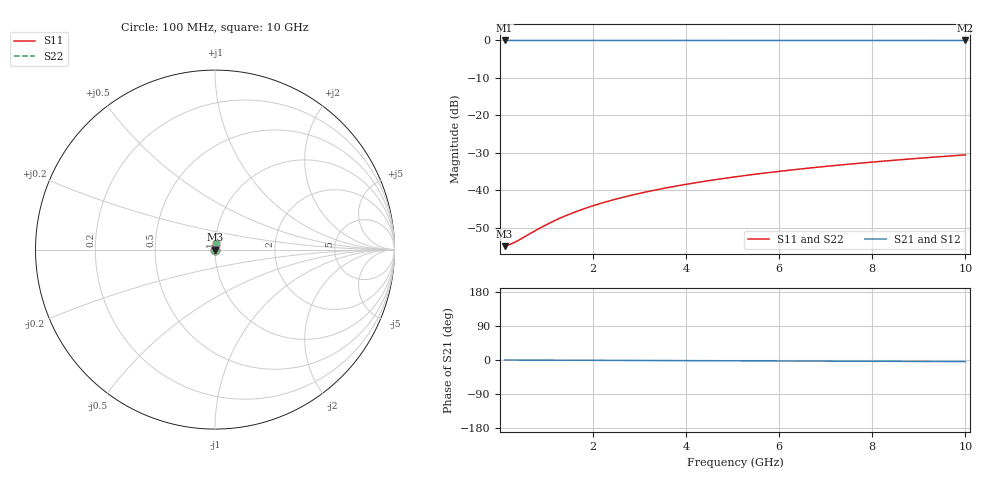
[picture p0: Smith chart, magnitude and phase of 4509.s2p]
# Hz S RI R 50.00
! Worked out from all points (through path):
!   100 points, 100 MHz to 10 GHz, reference 50 ohm
!   highest |S21| = -0.02 dB at 100 MHz (marker M1); lowest = 0.0 dB at 10 GHz (marker M2)
!   lowest |S11| = -55.0 dB at 100 MHz (marker M3), VSWR 1.00, Z = 50.2 + j0.0295 ohm
!   |S11| at or under -10 dB: start of sweep to end of sweep
!   |S22| runs from -55.0 to -30.6 dB; largest |S21 - S12| = 1e-15
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1e8  0.00176 0.000294  0.9982 -0.000727  0.9982 -0.000727  0.00176 0.000294
2e8  0.00178 0.000589  0.9982 -0.00145  0.9982 -0.00145  0.00178 0.000589
3e8  0.00179 0.000883  0.9982 -0.00218  0.9982 -0.00218  0.00179 0.000883
4e8  0.00179 0.00118  0.9982 -0.00291  0.9982 -0.00291  0.00179 0.00118
9e8  0.00183 0.00265  0.9982 -0.00654  0.9982 -0.00654  0.00183 0.00265
1.2e9  0.00185 0.00353  0.9981 -0.00872  0.9981 -0.00872  0.00185 0.00353
1.5e9  0.00188 0.00442  0.9981 -0.0109  0.9981 -0.0109  0.00188 0.00442
1.8e9  0.00191 0.0053  0.9981 -0.0131  0.9981 -0.0131  0.00191 0.0053
2.1e9  0.00194 0.00618  0.998 -0.0153  0.998 -0.0153  0.00194 0.00618
2.5e9  0.00199 0.00736  0.9979 -0.0182  0.9979 -0.0182  0.00199 0.00736
2.9e9  0.00204 0.00853  0.9979 -0.0211  0.9979 -0.0211  0.00204 0.00853
3.4e9  0.00212 0.01  0.9978 -0.0247  0.9978 -0.0247  0.00212 0.01
3.8e9  0.00219 0.0112  0.9977 -0.0276  0.9977 -0.0276  0.00219 0.0112
4.2e9  0.00226 0.0124  0.9976 -0.0305  0.9976 -0.0305  0.00226 0.0124
4.6e9  0.00234 0.0135  0.9974 -0.0334  0.9974 -0.0334  0.00234 0.0135
5.1e9  0.00246 0.015  0.9973 -0.0371  0.9973 -0.0371  0.00246 0.015
5.9e9  0.00266 0.0173  0.997 -0.0429  0.997 -0.0429  0.00266 0.0173
6.7e9  0.00288 0.0197  0.9967 -0.0487  0.9967 -0.0487  0.00288 0.0197
7.5e9  0.00314 0.022  0.9963 -0.0545  0.9963 -0.0545  0.00314 0.022
8.4e9  0.00346 0.0247  0.9958 -0.0611  0.9958 -0.0611  0.00346 0.0247
9.2e9  0.00377 0.027  0.9954 -0.0669  0.9954 -0.0669  0.00377 0.027
1e10  0.00411 0.0293  0.9949 -0.0727  0.9949 -0.0727  0.00411 0.0293
